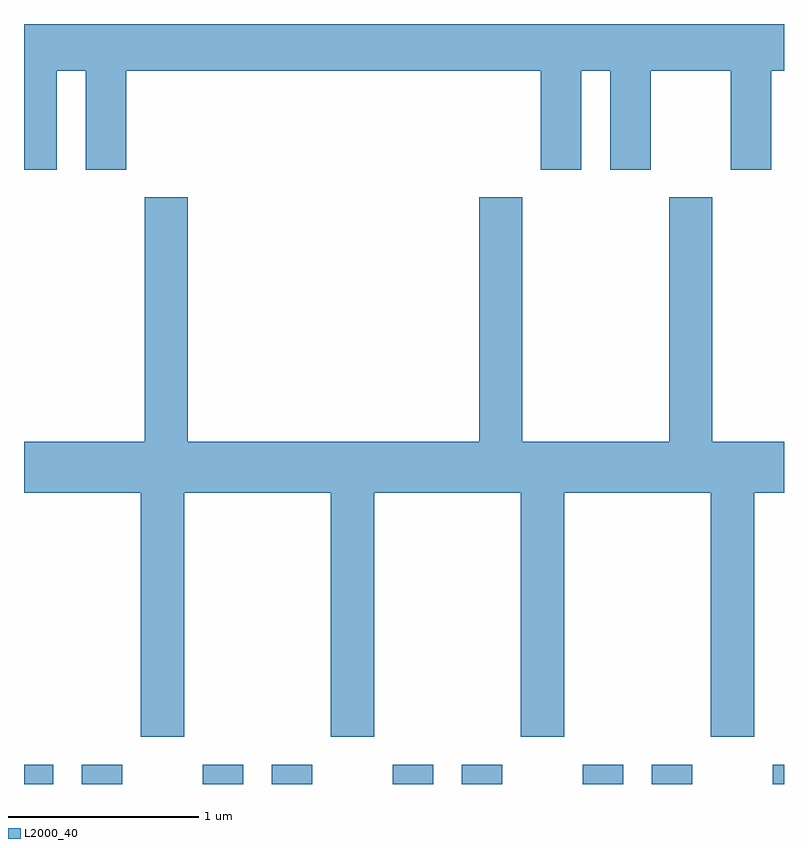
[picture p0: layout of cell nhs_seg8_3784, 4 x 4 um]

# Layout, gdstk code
import gdstk
lib = gdstk.Library(unit=1e-6, precision=1e-09)
def R(c, l, rs):  # rectangles x0, y0, x1, y1
    for r in rs: c.add(gdstk.rectangle(r[:2], r[2:], *l))
def P(c, l, *ps):  # polygons
    for p in ps: c.add(gdstk.Polygon(p, *l))
L2000_40 = (2000, 40)

nhs_seg8_3784 = lib.new_cell('nhs_seg8_3784')
R(nhs_seg8_3784, L2000_40, [(297.611,1930.342,297.764,1930.444), (297.916,1930.342,298.129,1930.444), (298.551,1930.342,298.764,1930.444), (298.916,1930.342,299.129,1930.444), (299.551,1930.342,299.764,1930.444), (299.916,1930.342,300.129,1930.444), (300.551,1930.342,300.764,1930.444), (300.916,1930.342,301.129,1930.444), (301.551,1930.342,301.611,1930.444)])
P(nhs_seg8_3784, L2000_40, [(297.784,1934.096),(297.936,1934.096),(297.936,1933.576),(298.149,1933.576),(298.149,1934.096),(300.331,1934.096),(300.331,1933.576),(300.544,1933.576),(300.544,1934.096),(300.696,1934.096),(300.696,1933.576),(300.909,1933.576),(300.909,1934.096),(301.331,1934.096),(301.331,1933.576),(301.544,1933.576),(301.544,1934.096),(301.611,1934.096),(301.611,1934.342),(297.611,1934.342),(297.611,1933.576),(297.784,1933.576)],
  [(300.454,1931.876),(301.226,1931.876),(301.226,1930.591),(301.454,1930.591),(301.454,1931.876),(301.611,1931.876),(301.611,1932.144),(301.234,1932.144),(301.234,1933.429),(301.006,1933.429),(301.006,1932.144),(300.234,1932.144),(300.234,1933.429),(300.006,1933.429),(300.006,1932.144),(298.474,1932.144),(298.474,1933.429),(298.246,1933.429),(298.246,1932.144),(297.611,1932.144),(297.611,1931.876),(298.226,1931.876),(298.226,1930.591),(298.454,1930.591),(298.454,1931.876),(299.226,1931.876),(299.226,1930.591),(299.454,1930.591),(299.454,1931.876),(300.226,1931.876),(300.226,1930.591),(300.454,1930.591)])

lib.write_gds('nhs_seg8_3784.gds')
